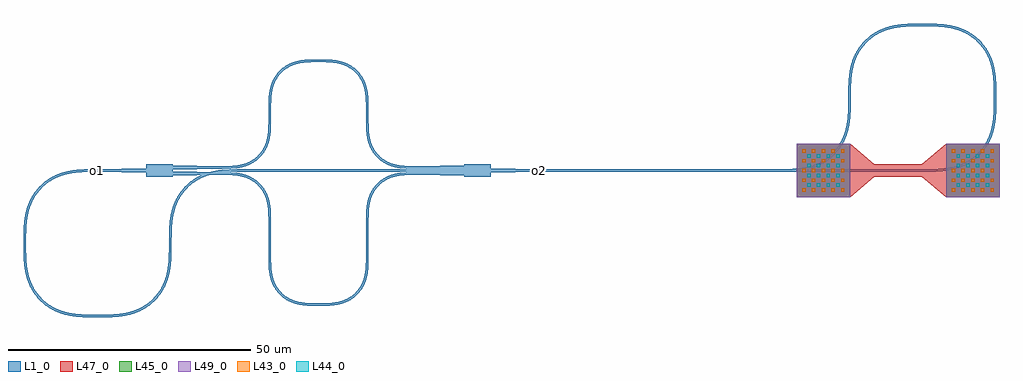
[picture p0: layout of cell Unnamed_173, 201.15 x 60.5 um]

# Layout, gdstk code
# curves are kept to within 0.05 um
from math import pi, radians
import gdstk
lib = gdstk.Library(unit=1e-6, precision=1e-09)
def R(c, l, rs):  # rectangles x0, y0, x1, y1
    for r in rs: c.add(gdstk.rectangle(r[:2], r[2:], *l))
def A(c, l, x, y, w, h, nx, ny, dx, dy):  # array of equal rectangles
    R(c, l, [(x+i*dx, y+j*dy, x+i*dx+w, y+j*dy+h) for i in range(nx) for j in range(ny)])
def P(c, l, *ps):  # polygons
    for p in ps: c.add(gdstk.Polygon(p, *l))
L1_0 = (1, 0)
L43_0 = (43, 0)
L44_0 = (44, 0)
L45_0 = (45, 0)
L47_0 = (47, 0)
L49_0 = (49, 0)

mmi1x2_wnone_wt1_lt10_l_ = lib.new_cell('mmi1x2_WNone_WT1_LT10_L_4e0f7121')
P(mmi1x2_wnone_wt1_lt10_l_, L1_0, [(0,-1.25),(0,-0.5),(-10,-0.25),(-10,0.25),(0,0.5),(0,1.25),(5.5,1.25),(5.5,1.125),(15.5,0.875),(15.5,0.375),(5.5,0.125),(5.5,-0.125),(15.5,-0.375),(15.5,-0.875),(5.5,-1.125),(5.5,-1.25)])

bend_euler_rnone_a90_p0_ = lib.new_cell('bend_euler_RNone_A90_P0_d7c3a5a9')
P(bend_euler_rnone_a90_p0_, L1_0, [(0,-0.25),(0,0.25),(2.881,0.353),(3.952,0.52),(4.99,0.806),(6.431,1.505),(7.575,2.425),(8.495,3.569),(9.194,5.01),(9.48,6.048),(9.647,7.119),(9.75,10),(10.25,10),(10.158,7.205),(9.797,5.254),(9.457,4.312),(9.066,3.545),(8.5,2.715),(7.928,2.072),(7.285,1.5),(6.455,0.934),(5.688,0.543),(4.746,0.203),(2.795,-0.158)])

straight_l2_n2_csstrip_w = lib.new_cell('straight_L2_N2_CSstrip_WNone')
R(straight_l2_n2_csstrip_w, L1_0, [(0,-0.25,2,0.25)])

straight_l7_n2_csstrip_w = lib.new_cell('straight_L7_N2_CSstrip_WNone')
R(straight_l7_n2_csstrip_w, L1_0, [(0,-0.25,7,0.25)])

straight_l0p1_n2_csstrip = lib.new_cell('straight_L0p1_N2_CSstrip_WNone')
R(straight_l0p1_n2_csstrip, L1_0, [(0,-0.25,0.1,0.25)])

mzi_dl10_ly2_lx0p1_bben_ = lib.new_cell('mzi_DL10_LY2_LX0p1_Bben_4daac747')
mzi_dl10_ly2_lx0p1_bben_.add(gdstk.Reference(mmi1x2_wnone_wt1_lt10_l_, (0,0)))
mzi_dl10_ly2_lx0p1_bben_.add(gdstk.Reference(bend_euler_rnone_a90_p0_, (15.5,-0.625), x_reflection=True))
mzi_dl10_ly2_lx0p1_bben_.add(gdstk.Reference(bend_euler_rnone_a90_p0_, (25.5,-17.625), rotation=3*pi/2))
mzi_dl10_ly2_lx0p1_bben_.add(gdstk.Reference(bend_euler_rnone_a90_p0_, (15.5,0.625)))
mzi_dl10_ly2_lx0p1_bben_.add(gdstk.Reference(bend_euler_rnone_a90_p0_, (35.5,22.625), rotation=pi))
mzi_dl10_ly2_lx0p1_bben_.add(gdstk.Reference(bend_euler_rnone_a90_p0_, (45.6,12.625), rotation=pi/2))
mzi_dl10_ly2_lx0p1_bben_.add(gdstk.Reference(bend_euler_rnone_a90_p0_, (45.6,10.625), rotation=3*pi/2))
mzi_dl10_ly2_lx0p1_bben_.add(gdstk.Reference(bend_euler_rnone_a90_p0_, (35.6,-27.625)))
mzi_dl10_ly2_lx0p1_bben_.add(gdstk.Reference(bend_euler_rnone_a90_p0_, (55.6,-0.625), rotation=pi))
mzi_dl10_ly2_lx0p1_bben_.add(gdstk.Reference(straight_l2_n2_csstrip_w, (25.5,10.625), rotation=pi/2))
mzi_dl10_ly2_lx0p1_bben_.add(gdstk.Reference(straight_l7_n2_csstrip_w, (25.5,-10.625), rotation=3*pi/2))
mzi_dl10_ly2_lx0p1_bben_.add(gdstk.Reference(straight_l0p1_n2_csstrip, (35.5,22.625)))
mzi_dl10_ly2_lx0p1_bben_.add(gdstk.Reference(straight_l0p1_n2_csstrip, (35.5,-27.625)))
mzi_dl10_ly2_lx0p1_bben_.add(gdstk.Reference(mmi1x2_wnone_wt1_lt10_l_, (71.1,0), rotation=pi, x_reflection=True))
mzi_dl10_ly2_lx0p1_bben_.add(gdstk.Reference(straight_l2_n2_csstrip_w, (45.6,10.625), rotation=pi/2))
mzi_dl10_ly2_lx0p1_bben_.add(gdstk.Reference(straight_l7_n2_csstrip_w, (45.6,-17.625), rotation=pi/2))

straight_heater_metal_u_ = lib.new_cell('straight_heater_metal_u_385113d0')
R(straight_heater_metal_u_, L1_0, [(0,-0.25,10,0.25)])
A(straight_heater_metal_u_, L43_0, -14.75, -4.35, 0.7, 0.7, 5, 5, 2, 2)
A(straight_heater_metal_u_, L43_0, 16.05, -4.35, 0.7, 0.7, 5, 5, 2, 2)
A(straight_heater_metal_u_, L44_0, -13.75, -3.35, 0.7, 0.7, 4, 4, 2, 2)
A(straight_heater_metal_u_, L44_0, 17.05, -3.35, 0.7, 0.7, 4, 4, 2, 2)
R(straight_heater_metal_u_, L45_0, [(-15.9,-5.5,-4.9,5.5), (14.9,-5.5,25.9,5.5)])
P(straight_heater_metal_u_, L47_0, [(-15.9,-5.5),(-15.9,5.5),(-4.9,5.5),(0.1,1.25),(9.9,1.25),(14.9,5.5),(25.9,5.5),(25.9,-5.5),(14.9,-5.5),(9.9,-1.25),(0.1,-1.25),(-4.9,-5.5)])
R(straight_heater_metal_u_, L49_0, [(-15.9,-5.5,-4.9,5.5), (14.9,-5.5,25.9,5.5)])

bend_euler_r15_a90_p0p5_ = lib.new_cell('bend_euler_R15_A90_P0p5_14998747')
P(bend_euler_r15_a90_p0p5_, L1_0, [(0,-0.25),(0,0.25),(2.31,0.273),(4.332,0.406),(5.924,0.652),(7.346,1.03),(8.467,1.471),(9.541,2.045),(10.54,2.741),(11.45,3.55),(12.259,4.46),(12.955,5.459),(13.529,6.533),(13.97,7.654),(14.348,9.076),(14.594,10.668),(14.727,12.69),(14.75,15),(15.25,15),(15.222,12.537),(15.106,10.752),(14.891,9.246),(14.569,7.896),(14.099,6.583),(13.527,5.441),(12.739,4.262),(11.804,3.196),(10.738,2.261),(9.559,1.473),(8.417,0.901),(7.104,0.431),(5.754,0.109),(4.248,-0.106),(2.463,-0.222)])

straight_l130_n2_csstrip = lib.new_cell('straight_L130_N2_CSstrip_WNone')
R(straight_l130_n2_csstrip, L1_0, [(0,-0.25,130,0.25)])

straight_l48p9_n2_csstri = lib.new_cell('straight_L48p9_N2_CSstrip_WNone')
R(straight_l48p9_n2_csstri, L1_0, [(0,-0.25,48.9,0.25)])

unnamed_173 = lib.new_cell('Unnamed_173')
P(unnamed_173, L1_0, [(-10,-0.25),(-10.25,0),(-10.062,0.188),(-10.025,0.188),(-10.215,0),(-10.025,0),(-10.025,0.188),(-10.062,0.188),(-10,0.25)],
  [(81.1,-0.25),(81.1,0),(81.125,0),(81.125,-0.188),(81.315,0),(81.1,0),(81.1,0.25),(81.35,0)])
unnamed_173.add(gdstk.Reference(mzi_dl10_ly2_lx0p1_bben_, (0,0)))
unnamed_173.add(gdstk.Reference(straight_heater_metal_u_, (150,0)))
unnamed_173.add(gdstk.Reference(bend_euler_r15_a90_p0p5_, (-25,-15), rotation=pi/2, x_reflection=True))
unnamed_173.add(gdstk.Reference(bend_euler_r15_a90_p0p5_, (-10,-30), rotation=pi, x_reflection=True))
unnamed_173.add(gdstk.Reference(bend_euler_r15_a90_p0p5_, (5,-15), rotation=3*pi/2, x_reflection=True))
unnamed_173.add(gdstk.Reference(bend_euler_r15_a90_p0p5_, (20,0), rotation=pi))
unnamed_173.add(gdstk.Reference(straight_l130_n2_csstrip, (20,0)))
unnamed_173.add(gdstk.Reference(bend_euler_r15_a90_p0p5_, (175,15), rotation=3*pi/2, x_reflection=True))
unnamed_173.add(gdstk.Reference(bend_euler_r15_a90_p0p5_, (160,30), x_reflection=True))
unnamed_173.add(gdstk.Reference(bend_euler_r15_a90_p0p5_, (145,15), rotation=pi/2, x_reflection=True))
unnamed_173.add(gdstk.Reference(bend_euler_r15_a90_p0p5_, (130,0)))
unnamed_173.add(gdstk.Reference(straight_l48p9_n2_csstri, (130,0), rotation=pi))
unnamed_173.add(gdstk.Label('o1', (-10,0), layer=1, texttype=0))
unnamed_173.add(gdstk.Label('o2', (81.1,0), layer=1, texttype=0))

lib.write_gds('Unnamed_173.gds')
